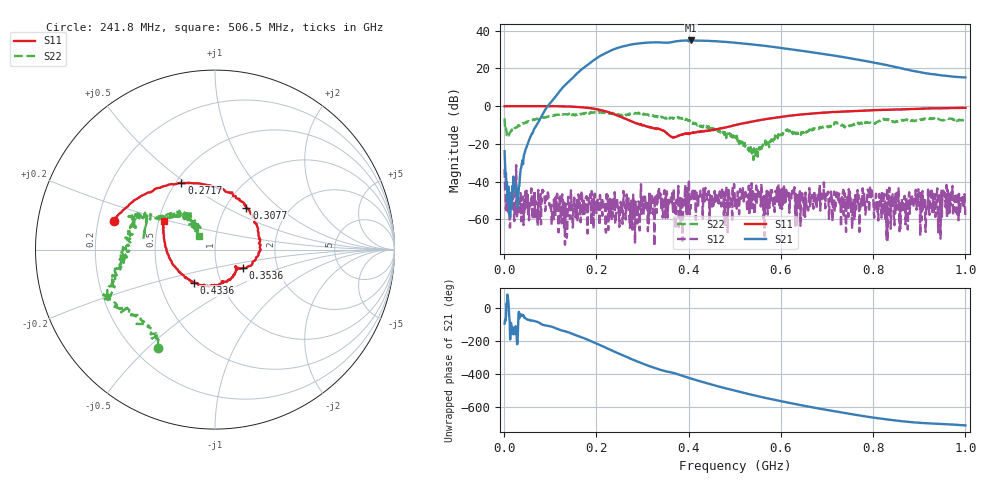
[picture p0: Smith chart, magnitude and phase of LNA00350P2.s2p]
! Created with skrf 1.9.0 (http://scikit-rf.org).
# Hz S RI R 50.0
!freq ReS11 ImS11 ReS21 ImS21 ReS12 ImS12 ReS22 ImS22
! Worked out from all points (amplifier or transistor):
!   1001 points, 1 MHz to 1 GHz, reference 50 ohm
!   highest |S21| = 34.7 dB at 404.6 MHz (marker M1)
!   |S21| within 3 dB of that: 260.2 MHz to 569.3 MHz (309.1 MHz wide, 74.5 % of centre)
!   unconditionally stable (mu >= 1): start of sweep to 74.5 MHz; 258.9 MHz to 296.4 MHz; 296.9 MHz to end of sweep (the widest 3 of 28)
!   at 166.8 MHz: K = 1.76, MAG = 29.2 dB, |S12| = -49.3 dB
!   at 500.5 MHz: K = 4.17, MAG = 34.1 dB, |S12| = -53.0 dB
!   at 1 GHz: K = 12.97, MAG = 23.1 dB, |S12| = -59.4 dB
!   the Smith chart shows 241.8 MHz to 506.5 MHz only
!   S11 on the Smith chart (normalised r, x): 241.8 MHz: 0.27, +0.13; 271.7 MHz: 0.53, +0.48; 307.7 MHz: 1.24, +0.64; 353.6 MHz: 1.33, -0.29; 433.6 MHz: 0.74, -0.29; 506.5 MHz: 0.53, +0.19
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1000000  0.9873 0.00919  -0.00392 -0.0644  -0.0165 -0.0139  0.3055 0.3593
1.07893e8  0.5219 -0.8493  -0.7166 -1.392  0.00146 -0.00307  0.429 -0.3759
1.67833e8  -0.2476 -0.8968  -9.323 -0.5594  8.58e-05 -0.00585  0.0317 -0.6286
2.09791e8  -0.6901 -0.3691  -14.96 15.7  0.00244 0.000356  -0.1951 -0.6516
2.41759e8  -0.5646 0.1581  -1.467 33.12  0.000911 0.000167  -0.319 -0.5458
2.71729e8  -0.1875 0.3716  23.64 34.32  0.000473 0.00096  -0.4885 -0.324
3.07693e8  0.1752 0.2344  45.75 13.04  -0.00208 -8.7e-05  -0.5653 -0.1957
3.34666e8  0.2543 -0.000476  47.73 -9.27  -0.00319 0.00609  -0.5077 -0.0382
3.53647e8  0.1533 -0.1047  42.83 -20.33  0.00365 -0.000582  -0.5043 0.0706
3.77623e8  0.1212 -0.1142  38.76 -35.46  -0.00262 0.00726  -0.4824 0.1843
4.04596e8  0.0352 -0.1877  21.19 -50.27  0.000797 0.00185  -0.3451 0.1783
4.33567e8  -0.1156 -0.1858  -0.7381 -53.32  0.00131 0.00371  -0.216 0.2037
4.65535e8  -0.2412 -0.0673  -22.62 -46.17  0.00262 0.000241  -0.1336 0.1628
5.005e8  -0.286 0.1218  -37.52 -29.83  -0.00211 -0.000778  -0.1025 0.1205
5.06494e8  -0.2868 0.1594  -38.41 -26.44  0.00529 0.00145  -0.0896 0.0731
5.42458e8  -0.2045 0.3452  -41.42 -7.45  0.00134 0.000165  -0.0622 0.00517
5.88412e8  0.00347 0.4949  -34.27 11.49  0.00111 -0.00568  -0.1326 -0.0764
6.25375e8  0.1858 0.5374  -24.18 19.8  0.00488 -0.000957  -0.1848 -0.0984
6.67333e8  0.3902 0.4997  -12.32 23.28  0.00362 -0.00115  -0.2225 -0.0488
7.53247e8  0.6741 0.2849  4.328 17.6  -0.00271 0.000773  -0.313 0.0244
8.34166e8  0.7987 0.0201  8.713 7.975  -0.00258 -0.00233  -0.4243 0.0775
1e9  0.7262 -0.5326  5.686 0.752  0.000412 -0.000995  -0.1867 0.3693
